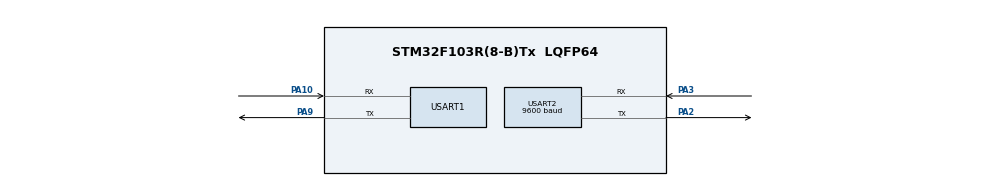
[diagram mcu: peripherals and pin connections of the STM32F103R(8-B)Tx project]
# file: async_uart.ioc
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FREERTOS.Tasks01=defaultTask,2,460,StartDefaultTask,Default,NULL,Dynamic,NULL,NULL;uartTask,2,200,StartUartTask,Default,NULL,Dynamic,NULL,NULL
FREERTOS.configTOTAL_HEAP_SIZE=5120
Mcu.Family=STM32F1
Mcu.Name=STM32F103R(8-B)Tx
Mcu.Package=LQFP64
NVIC.PriorityGroup=NVIC_PRIORITYGROUP_4
NVIC.USART1_IRQn=true\:5\:0\:false\:false\:true\:true\:true\:true\:true
PA10.Mode=Asynchronous
PA10.Signal=USART1_RX
PA13.Mode=Serial_Wire
PA13.Signal=SYS_JTMS-SWDIO
PA14.Mode=Serial_Wire
PA14.Signal=SYS_JTCK-SWCLK
PA2.Mode=Asynchronous
PA2.Signal=USART2_TX
PA3.Mode=Asynchronous
PA3.Signal=USART2_RX
PA9.Mode=Asynchronous
PA9.Signal=USART1_TX
ProjectManager.HeapSize=0x800
ProjectManager.StackSize=0x400
ProjectManager.TargetToolchain=MDK-ARM V5.27
RCC.APB1Freq_Value=8000000
RCC.APB2Freq_Value=8000000
USART1.VirtualMode=VM_ASYNC
USART2.BaudRate=9600
USART2.VirtualMode=VM_ASYNC
VP_FREERTOS_VS_CMSIS_V1.Mode=CMSIS_V1
board=custom

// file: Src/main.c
/* USER CODE BEGIN Header */
/**
  ******************************************************************************
  * @file           : main.c
  * @brief          : Main program body
  ******************************************************************************
  * @attention
  *
  * <h2><center>&copy; Copyright (c) 2020 STMicroelectronics.
  * All rights reserved.</center></h2>
  *
  * This software component is licensed by ST under BSD 3-Clause license,
  * the "License"; You may not use this file except in compliance with the
  * License. You may obtain a copy of the License at:
  *                        opensource.org/licenses/BSD-3-Clause
  *
  ******************************************************************************
  */
/* USER CODE END Header */
#include "main.h"
#include "cmsis_os.h"

/* USER CODE BEGIN Includes */
#include <stdio.h>
#include <string.h>
#include "aiot_at_api.h"
/* USER CODE END Includes */

/* USER CODE BEGIN PD */
#define DEBUG_UART huart1
#define AIOT_UART huart2
/* USER CODE END PD */

UART_HandleTypeDef huart1;
UART_HandleTypeDef huart2;

osThreadId defaultTaskHandle;
osThreadId uartTaskHandle;

void SystemClock_Config(void);
static void MX_GPIO_Init(void);
static void MX_USART1_UART_Init(void);
static void MX_USART2_UART_Init(void);
void StartDefaultTask(void const * argument);
void StartUartTask(void const * argument);

/* USER CODE BEGIN 0 */

/**
  * @brief  The application entry point.
  * @retval int
  */

int fputc(int ch, FILE *f) {
    // ITM_SendChar(ch);
    HAL_UART_Transmit(&DEBUG_UART, &ch, 1, 1000);
    return (ch);
};

#define RING_BUFFER_SIZE            (AIOT_AT_DATA_RB_SIZE_DEFAULT)
typedef struct
{
    uint8_t  data[RING_BUFFER_SIZE];
    uint16_t tail;
    uint16_t head;
} uart_ring_buffer_t;

static uart_ring_buffer_t   g_uart_rx_buf = {0};

#define AT_SUCCESS 0
#define AT_FAILED  -1

int32_t _uart_recv(void  *uart, void *data, uint32_t expect_size,
                   uint32_t *recv_size, uint32_t timeout)
{
    uint32_t tmp, read_size;
    uint8_t *buf = (uint8_t *)data;
    uint32_t start_time, expired_time;

    start_time = HAL_GetTick();
    *recv_size = 0;

    expect_size =  expect_size > RING_BUFFER_SIZE ? RING_BUFFER_SIZE : expect_size;

    for (;;) {
        read_size = expect_size;

        tmp = 0;
        /* Loop until data received */
        while (read_size--)
        {
            if (g_uart_rx_buf.head != g_uart_rx_buf.tail)
            {
                /* serial data available, so return data to user */
                *buf++ = g_uart_rx_buf.data[g_uart_rx_buf.head++];
                tmp++;

                /* check for ring buffer wrap */
                if (g_uart_rx_buf.head >= RING_BUFFER_SIZE)
                {
                    /* Ring buffer wrap, so reset head pointer to start of buffer */
                    g_uart_rx_buf.head = 0;
                }
            }
        }

        *recv_size += tmp;
        expect_size -= tmp;

        if(expect_size == 0)
        {
            break;
        }

        expired_time = HAL_GetTick() - start_time;
        if (expired_time > timeout)
        {
            return -1;
        }
    }

    return 0;
}

/* USER CODE END 0 */

int main(void)
{

  /* MCU Configuration--------------------------------------------------------*/

  /* Reset of all peripherals, Initializes the Flash interface and the Systick. */
  HAL_Init();

  /* Configure the system clock */
  SystemClock_Config();

  /* Initialize all configured peripherals */
  MX_GPIO_Init();
  MX_USART1_UART_Init();
  MX_USART2_UART_Init();
  /* USER CODE BEGIN 2 */
    char c;
    HAL_UART_Receive_IT(&AIOT_UART, (uint8_t *)&(c), 1);
  /* USER CODE END 2 */

  /* Create the thread(s) */
  /* definition and creation of defaultTask */
  osThreadDef(defaultTask, StartDefaultTask, osPriorityHigh, 0, 460);
  defaultTaskHandle = osThreadCreate(osThread(defaultTask), NULL);

  /* definition and creation of uartTask */
  osThreadDef(uartTask, StartUartTask, osPriorityHigh, 0, 200);
  uartTaskHandle = osThreadCreate(osThread(uartTask), NULL);

  /* Start scheduler */
  osKernelStart();

  /* We should never get here as control is now taken by the scheduler */
  /* Infinite loop */
  /* USER CODE BEGIN WHILE */
    while (1)
    {
        osDelay(100);

    /* USER CODE END WHILE */

    }
}

void SystemClock_Config(void)
{
  RCC_OscInitTypeDef RCC_OscInitStruct = {0};
  RCC_ClkInitTypeDef RCC_ClkInitStruct = {0};

  /** Initializes the RCC Oscillators according to the specified parameters
  * in the RCC_OscInitTypeDef structure.
  */
  RCC_OscInitStruct.OscillatorType = RCC_OSCILLATORTYPE_HSI;
  RCC_OscInitStruct.HSIState = RCC_HSI_ON;
  RCC_OscInitStruct.HSICalibrationValue = RCC_HSICALIBRATION_DEFAULT;
  RCC_OscInitStruct.PLL.PLLState = RCC_PLL_NONE;
  if (HAL_RCC_OscConfig(&RCC_OscInitStruct) != HAL_OK)
  {
    Error_Handler();
  }

  /** Initializes the CPU, AHB and APB buses clocks
  */
  RCC_ClkInitStruct.ClockType = RCC_CLOCKTYPE_HCLK|RCC_CLOCKTYPE_SYSCLK
                              |RCC_CLOCKTYPE_PCLK1|RCC_CLOCKTYPE_PCLK2;
  RCC_ClkInitStruct.SYSCLKSource = RCC_SYSCLKSOURCE_HSI;
  RCC_ClkInitStruct.AHBCLKDivider = RCC_SYSCLK_DIV1;
  RCC_ClkInitStruct.APB1CLKDivider = RCC_HCLK_DIV1;
  RCC_ClkInitStruct.APB2CLKDivider = RCC_HCLK_DIV1;

  if (HAL_RCC_ClockConfig(&RCC_ClkInitStruct, FLASH_LATENCY_0) != HAL_OK)
  {
    Error_Handler();
  }
}

static void MX_USART1_UART_Init(void)
{

  huart1.Instance = USART1;
  huart1.Init.BaudRate = 115200;
  huart1.Init.WordLength = UART_WORDLENGTH_8B;
  huart1.Init.StopBits = UART_STOPBITS_1;
  huart1.Init.Parity = UART_PARITY_NONE;
  huart1.Init.Mode = UART_MODE_TX_RX;
  huart1.Init.HwFlowCtl = UART_HWCONTROL_NONE;
  huart1.Init.OverSampling = UART_OVERSAMPLING_16;
  if (HAL_UART_Init(&huart1) != HAL_OK)
  {
    Error_Handler();
  }

}

static void MX_USART2_UART_Init(void)
{

  huart2.Instance = USART2;
  huart2.Init.BaudRate = 9600;
  huart2.Init.WordLength = UART_WORDLENGTH_8B;
  huart2.Init.StopBits = UART_STOPBITS_1;
  huart2.Init.Parity = UART_PARITY_NONE;
  huart2.Init.Mode = UART_MODE_TX_RX;
  huart2.Init.HwFlowCtl = UART_HWCONTROL_NONE;
  huart2.Init.OverSampling = UART_OVERSAMPLING_16;
  if (HAL_UART_Init(&huart2) != HAL_OK)
  {
    Error_Handler();
  }

}

static void MX_GPIO_Init(void)
{

  /* GPIO Ports Clock Enable */
  __HAL_RCC_GPIOA_CLK_ENABLE();

}

/* USER CODE BEGIN 4 */
int g_tx_error = 0;
HAL_StatusTypeDef K_UART_Transmit(UART_HandleTypeDef *huart, uint8_t *pData, uint16_t Size)
{
    HAL_StatusTypeDef status = HAL_OK;
    for(int32_t i = 1; i < 100000; ++i)
    {
        status = HAL_UART_Transmit_IT(huart, pData, Size);
        if(HAL_OK == status)
        {   // ??
            return status;
        }
        else if(HAL_BUSY == status)
        {
            //printf("HAL_UART_Transmit failed. status:%d, gState:0X%x, Lock:%d\r\n", status, huart->gState, huart->Lock);
            if(HAL_UART_STATE_READY == huart->gState && HAL_LOCKED == huart->Lock && i % 50 == 0)
            {   g_tx_error++;
                __HAL_UNLOCK(huart);
                continue;
            }
        }
        else if(HAL_ERROR == status)
        {   // ??????
            return status;
        }
        else if(HAL_TIMEOUT == status)
        {   // ?????????
            continue;
        }
    }
    // ???N?
    return status;
}

/* ???????? */
int32_t at_uart_send(uint8_t *p_data, uint16_t len, uint32_t timeout)
{
    if(HAL_OK == 	K_UART_Transmit(&AIOT_UART, (uint8_t *)p_data, len)) {
        return len;
    } else {
        return 0;
    }
}

/**
 * Receive data on a UART interface
 *
 * @param[in]   uart         the UART interface
 * @param[out]  data         pointer to the buffer which will store incoming data
 * @param[in]   expect_size  number of bytes to receive
 * @param[out]  recv_size    number of bytes received
 * @param[in]   timeout      timeout in milisecond, set this value to HAL_WAIT_FOREVER
 *                           if you want to wait forever
 *
 * @return  0 : on success, EIO : if an error occurred with any step
 */

HAL_StatusTypeDef K_UART_Receive_IT(UART_HandleTypeDef *huart, uint8_t *pData, uint16_t Size)
{
    HAL_StatusTypeDef status = HAL_OK;
    for(int32_t i = 1; i < 1000; ++i)
    {
#if 1
        uint32_t isrflags   = READ_REG(huart->Instance->SR);
        if((__HAL_UART_GET_FLAG(huart, UART_FLAG_PE))!=RESET)
        {
            __HAL_UART_CLEAR_PEFLAG(huart);
        }
        if((__HAL_UART_GET_FLAG(huart, UART_FLAG_FE))!=RESET)
        {
            __HAL_UART_CLEAR_FEFLAG(huart);
        }
        if((__HAL_UART_GET_FLAG(huart, UART_FLAG_NE))!=RESET)
        {
            __HAL_UART_CLEAR_NEFLAG(huart);
        }
        if((__HAL_UART_GET_FLAG(huart, UART_FLAG_ORE))!=RESET)
        {
            //READ_REG(huart->Instance->CR1);//ORE???,????CR
            //__HAL_UART_CLEAR_FLAG(huart, UART_FLAG_ORE);
            __HAL_UART_CLEAR_OREFLAG(huart);
        }
        if(HAL_UART_ERROR_NONE != huart->ErrorCode)
        {
            huart->ErrorCode = HAL_UART_ERROR_NONE;

        }
#endif
        status = HAL_UART_Receive_IT(huart, pData, Size);
        if(HAL_OK == status)
        {
            return status;
        }
        else if(HAL_BUSY == status)
        {
            //printf("HAL_UART_Receive_IT failed. status:%d, RxState:0X%x, Lock:%d\r\n", status, huart->RxState, huart->Lock);
            if(HAL_UART_STATE_READY == huart->RxState && HAL_LOCKED == huart->Lock && i % 500 == 0)
            {
                __HAL_UNLOCK(huart);
                // g_rx_error++;
                continue;
            }
        }
        else if(HAL_ERROR == status)
        {
            // g_rx_other_error++;
            return status;
        }
        else if(HAL_TIMEOUT == status)
        {
        }
    }
    if(HAL_OK != status)
    {
    }
    return status;
}

int32_t aiot_serial_port_write(int fd, uint8_t *buffer, uint32_t size)
{
    K_UART_Transmit(&AIOT_UART, (uint8_t *)buffer, size);
    return 0;
}

void HAL_UART_RxCpltCallback(UART_HandleTypeDef *huart) {

    if (++g_uart_rx_buf.tail >= RING_BUFFER_SIZE) {
        g_uart_rx_buf.tail = 0;
    }

    K_UART_Receive_IT(&AIOT_UART, (uint8_t *)&g_uart_rx_buf.data[g_uart_rx_buf.tail], 1);
}

int aiot_uart_init()
{
    /* ???AT?? */
    int res = aiot_at_init();
    if (res < 0) {
        printf("aiot_at_init failed\r\n");
        return -1;
    }

    extern int32_t at_uart_send(uint8_t *p_data, uint16_t len, uint32_t timeout);
    /* ?????????? */
    aiot_at_setopt(AIOT_ATOPT_UART_TX_FUNC, at_uart_send);

    if (res < 0) {
        printf("pthread_create demo_serial_port_thread failed: %d\n", res);
        return -1;
    }
    /* ????? */
    res = aiot_at_bootstrap();
    if (res < 0) {
        printf("aiot_at_bootstrap failed\r\n");
        return -1;
    }

		return 0;
}
/* USER CODE END 4 */

/* USER CODE BEGIN Header_StartDefaultTask */
extern int link_main(int argc, char *argv[]);
/* USER CODE END Header_StartDefaultTask */
void StartDefaultTask(void const * argument)
{
  /* USER CODE BEGIN 5 */
  uint8_t temp;
  HAL_UART_Receive_IT(&AIOT_UART, &temp, 1);
  aiot_uart_init();
  link_main(0, NULL);
  /* Infinite loop */
  for(;;)
  {
    osDelay(10);
  }
  /* USER CODE END 5 */
}

void StartUartTask(void const * argument)
{
  /* USER CODE BEGIN StartUartTask */
  uint8_t buffer = 0;
  uint32_t length =1, delay = 5;
  uint32_t recv_size= 0;
  /* Infinite loop */
  for(;;)
  {
    _uart_recv(NULL, (void *)&buffer, length, &recv_size, delay);
    if(recv_size > 0) {
        aiot_at_uart_reception(buffer);
        //printf("recvecd %x,%c\n", buffer, buffer);
        recv_size = 0;
    } else {
        osDelay(1);
    }
    osDelay(1);
  }
  /* USER CODE END StartUartTask */
}

void Error_Handler(void)
{
}

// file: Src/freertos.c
/* USER CODE BEGIN Header */
/**
  ******************************************************************************
  * File Name          : freertos.c
  * Description        : Code for freertos applications
  ******************************************************************************
  * @attention
  *
  * <h2><center>&copy; Copyright (c) 2020 STMicroelectronics.
  * All rights reserved.</center></h2>
  *
  * This software component is licensed by ST under Ultimate Liberty license
  * SLA0044, the "License"; You may not use this file except in compliance with
  * the License. You may obtain a copy of the License at:
  *                             www.st.com/SLA0044
  *
  ******************************************************************************
  */
/* USER CODE END Header */

#include "FreeRTOS.h"
#include "task.h"
#include "main.h"

/* GetIdleTaskMemory prototype (linked to static allocation support) */
void vApplicationGetIdleTaskMemory( StaticTask_t **ppxIdleTaskTCBBuffer, StackType_t **ppxIdleTaskStackBuffer, uint32_t *pulIdleTaskStackSize );

/* USER CODE BEGIN GET_IDLE_TASK_MEMORY */
static StaticTask_t xIdleTaskTCBBuffer;
static StackType_t xIdleStack[configMINIMAL_STACK_SIZE];

void vApplicationGetIdleTaskMemory( StaticTask_t **ppxIdleTaskTCBBuffer, StackType_t **ppxIdleTaskStackBuffer, uint32_t *pulIdleTaskStackSize )
{
    *ppxIdleTaskTCBBuffer = &xIdleTaskTCBBuffer;
    *ppxIdleTaskStackBuffer = &xIdleStack[0];
    *pulIdleTaskStackSize = configMINIMAL_STACK_SIZE;
    /* place for user code */
}
/* USER CODE END GET_IDLE_TASK_MEMORY */
